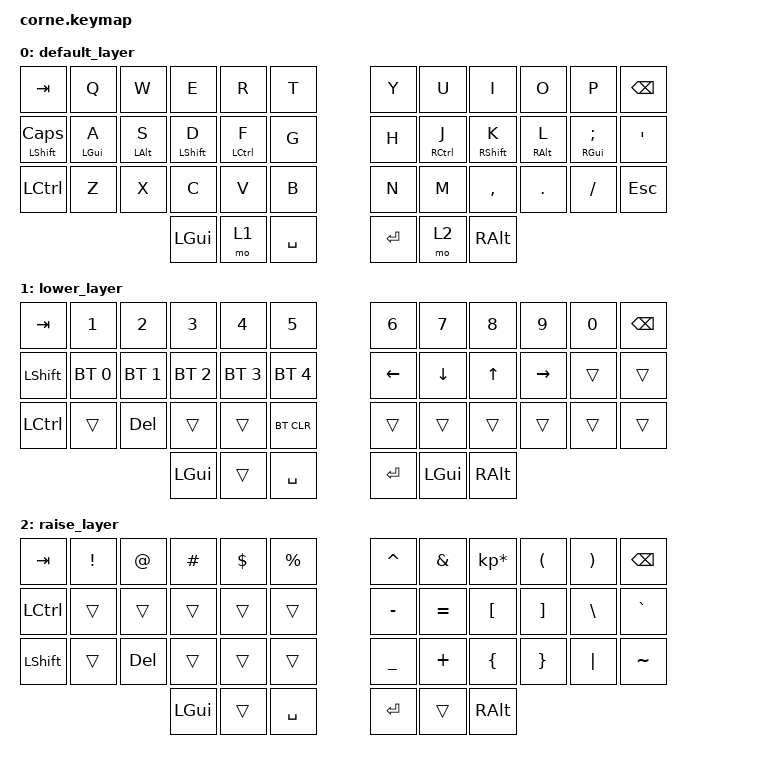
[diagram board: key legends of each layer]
/*
 * Copyright (c) 2020 The ZMK Contributors
 *
 * SPDX-License-Identifier: MIT
 */

#include <behaviors.dtsi>
#include <dt-bindings/zmk/keys.h>
#include <dt-bindings/zmk/bt.h>

&mt {
    quick-tap-ms = <20>;
};

/ {
        keymap {
                compatible = "zmk,keymap";

                default_layer {
// -----------------------------------------------------------------------------------------
// |  TAB |  Q  |  W  |  E  |  R  |  T  |   |  Y  |  U   |  I  |  O  |  P  | BKSP |
// | SHFT |  A  |  S  |  D  |  F  |  G  |   |  H  |  J   |  K  |  L  |  ;  |  '   |
// | CTRL |  Z  |  X  |  C  |  V  |  B  |   |  N  |  M   |  ,  |  .  |  /  | ESC  |
//                    | GUI | LWR | SPC |   | ENT | RSE  | ALT |
                        bindings = <
   &kp TAB   &kp Q &kp W &kp E &kp R &kp T   &kp Y &kp U  &kp I     &kp O   &kp P    &kp BSPC
   &mt LSHFT CAPS &mt LGUI A &mt LALT S &mt LSHIFT D &mt LCTL F &kp G &kp H &mt RCTL J &mt RSHIFT K &mt RALT L &mt RGUI SEMI &kp SQT
   &kp LCTRL &kp Z &kp X &kp C &kp V &kp B   &kp N &kp M  &kp COMMA &kp DOT &kp FSLH &kp ESC
                  &kp LGUI &mo 1 &kp SPACE   &kp RET &mo 2 &kp RALT
                        >;
                };
                lower_layer {
// -----------------------------------------------------------------------------------------
// |  TAB |  1  |  2  |  3  |  4  |  5  |   |  6  |  7  |  8  |  9  |  0  | BKSP |
// | SHFT | BT1 | BT2 | BT3 | BT4 | BT5 |   | LFT | DWN |  UP | RGT |     |      |
// | CTRL |     | DEL |     |     |BTCLR|   |     |     |     |     |     |      |
//                    | GUI |     | SPC |   | ENT | GUI | ALT |
                        bindings = <
   &kp TAB    &kp N1       &kp N2       &kp N3       &kp N4       &kp N5         &kp N6   &kp N7   &kp N8 &kp N9    &kp N0 &kp BSPC
   &kp LSHFT &bt BT_SEL 0 &bt BT_SEL 1 &bt BT_SEL 2 &bt BT_SEL 3 &bt BT_SEL 4   &kp LEFT &kp DOWN &kp UP &kp RIGHT &trans &trans
   &kp LCTRL  &trans       &kp DEL       &trans       &trans       &bt BT_CLR         &trans   &trans   &trans &trans    &trans &trans
                                    &kp LGUI     &trans       &kp SPACE      &kp RET  &kp LGUI   &kp RALT
                        >;
                };

                raise_layer {
// -----------------------------------------------------------------------------------------
// |  TAB |  !  |  @  |  #  |  $  |  %  |   |  ^  |  &  |  *  |  (  |  )  | BKSP |
// | CTRL |     |     |     |     |     |   |  -  |  =  |  [  |  ]  |  \  |  `   |
// | SHFT |     | DEL |     |     |     |   |  _  |  +  |  {  |  }  | "|" |  ~   |
//                    | GUI |     | SPC |   | ENT |     | ALT |
                        bindings = <
   &kp  TAB  &kp EXCL &kp AT &kp HASH &kp DLLR &kp PRCNT   &kp CARET &kp AMPS  &kp KP_MULTIPLY &kp LPAR &kp RPAR &kp BSPC
   &kp LCTRL &trans   &trans &trans   &trans   &trans      &kp MINUS &kp EQUAL &kp LBKT        &kp RBKT &kp BSLH &kp GRAVE
   &kp LSHFT &trans   &kp DEL &trans   &trans   &trans      &kp UNDER &kp PLUS  &kp LBRC        &kp RBRC &kp PIPE &kp TILDE
                             &kp LGUI &trans   &kp SPACE   &kp RET   &trans    &kp RALT
                        >;
                };
        };
};

&nice_view_spi {
    cs-gpios = <&pro_micro 0 GPIO_ACTIVE_HIGH>;
};
